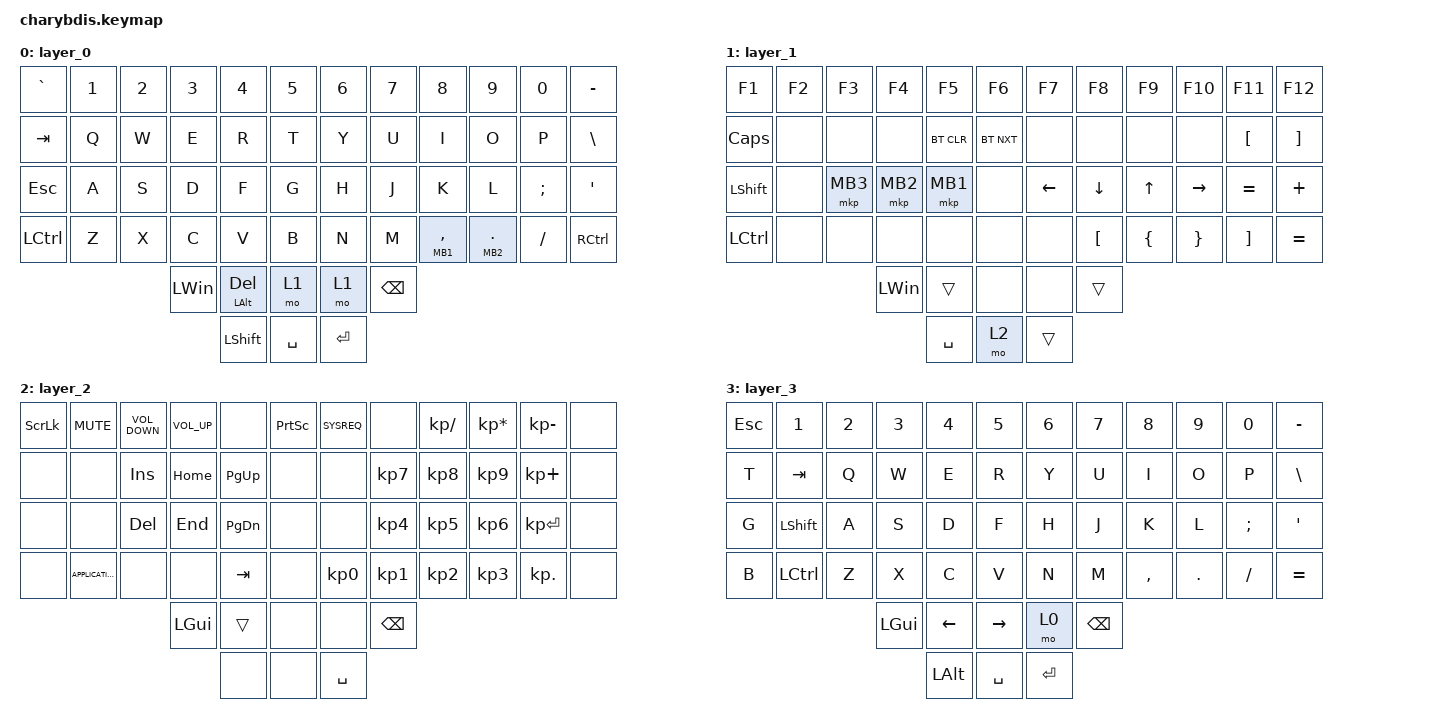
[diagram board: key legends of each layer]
#include <dt-bindings/zmk/mouse.h>
#include <behaviors.dtsi>
#include <dt-bindings/zmk/bt.h>
#include <dt-bindings/zmk/keys.h>
#include <dt-bindings/zmk/pointing.h>

&lt {
    tapping-term-ms = <200>;
    flavor = "balanced";
    quick-tap-ms = <150>;
};

/ {
    behaviors {
        quick_mouse: quick_mouse {
            compatible = "zmk,behavior-hold-tap";
            label = "QUICK_MOUSE";
            bindings = <&mkp>, <&kp>;

            #binding-cells = <2>;
            tapping-term-ms = <400>;
            quick-tap-ms = <150>;
        };
    };

    keymap {
        compatible = "zmk,keymap";

        layer_0 {
            bindings = <
&kp GRAVE  &kp N1  &kp N2  &kp N3        &kp N4               &kp N5       &kp N6     &kp N7         &kp N8                  &kp N9                   &kp N0    &kp MINUS
&kp TAB    &kp Q   &kp W   &kp E         &kp R                &kp T        &kp Y      &kp U          &kp I                   &kp O                    &kp P     &kp BSLH
&kp ESC    &kp A   &kp S   &kp D         &kp F                &kp G        &kp H      &kp J          &kp K                   &kp L                    &kp SEMI  &kp SQT
&kp LCTRL  &kp Z   &kp X   &kp C         &kp V                &kp B        &kp N      &kp M          &quick_mouse MB1 COMMA  &quick_mouse MB2 PERIOD  &kp FSLH  &kp RCTRL
                           &kp LEFT_WIN  &mt LEFT_ALT DELETE  &mo 1        &mo 1      &kp BACKSPACE
                                         &kp LEFT_SHIFT       &kp SPACE    &kp ENTER
            >;

            trackball-bindings = <&tmv_coarse>;
        };

        layer_1 {
            bindings = <
&kp F1          &kp F2  &kp F3    &kp F4        &kp F5      &kp F6        &kp F7          &kp F8            &kp F9          &kp F10          &kp F11            &kp F12
&kp CAPS        &none   &none     &none         &bt BT_CLR  &bt BT_NXT    &none           &none             &none           &none            &kp LEFT_BRACKET   &kp RIGHT_BRACKET
&kp LEFT_SHIFT  &none   &mkp MB3  &mkp MB2      &mkp MB1    &none         &kp LEFT_ARROW  &kp DOWN_ARROW    &kp UP_ARROW    &kp RIGHT        &kp EQUAL          &kp PLUS
&kp LCTRL       &none   &none     &none         &none       &none         &none           &kp LEFT_BRACKET  &kp LEFT_BRACE  &kp RIGHT_BRACE  &kp RIGHT_BRACKET  &kp EQUAL
                                  &kp LEFT_WIN  &trans      &none         &none           &trans
                                                &kp SPACE   &mo 2         &trans
            >;

            trackball-bindings = <&tsl>;
        };

        layer_2 {
            bindings = <
&kp SCROLLLOCK  &kp K_MUTE         &kp C_VOLUME_DOWN  &kp C_VOLUME_UP  &none          &kp PRINTSCREEN    &kp SYSREQ       &none            &kp KP_SLASH     &kp KP_ASTERISK  &kp KP_MINUS  &none
&none           &none              &kp INSERT         &kp HOME         &kp PAGE_UP    &none              &none            &kp KP_NUMBER_7  &kp KP_NUMBER_8  &kp KP_NUMBER_9  &kp KP_PLUS   &none
&none           &none              &kp DEL            &kp END          &kp PAGE_DOWN  &none              &none            &kp KP_NUMBER_4  &kp KP_NUMBER_5  &kp KP_NUMBER_6  &kp KP_ENTER  &none
&none           &kp K_APPLICATION  &none              &none            &kp TAB        &none              &kp KP_NUMBER_0  &kp KP_NUMBER_1  &kp KP_NUMBER_2  &kp KP_NUMBER_3  &kp KP_DOT    &none
                                                      &kp LEFT_GUI     &trans         &none              &none            &kp BACKSPACE
                                                                       &none          &none              &kp SPACE
            >;
        };

        layer_3 {
            bindings = <
&kp ESC  &kp N1            &kp N2  &kp N3    &kp N4    &kp N5       &kp N6     &kp N7    &kp N8     &kp N9      &kp N0         &kp MINUS
&kp T    &kp TAB           &kp Q   &kp W     &kp E     &kp R        &kp Y      &kp U     &kp I      &kp O       &kp P          &kp BACKSLASH
&kp G    &kp LEFT_SHIFT    &kp A   &kp S     &kp D     &kp F        &kp H      &kp J     &kp K      &kp L       &kp SEMICOLON  &kp SQT
&kp B    &kp LEFT_CONTROL  &kp Z   &kp X     &kp C     &kp V        &kp N      &kp M     &kp COMMA  &kp PERIOD  &kp SLASH      &kp EQUAL
                                   &kp LGUI  &kp LEFT  &kp RIGHT    &mo 0      &kp BSPC
                                             &kp LALT  &kp SPACE    &kp ENTER
            >;
        };

        /* layer_2 {
            bindings = <
&none  &none   &none    &none   &none         &none         &kp N1         &none         &none     &none  &none   &to 0
&none  &none   &none    &none   &none         &none         &none         &none          &rgb_ug RGB_BRD &rgb_ug RGB_BRI  &rgb_ug RGB_EFF   &rgb_ug RGB_TOG
&none  &none   &none    &none   &none         &none         &none         &mkp LCLK     &mkp RCLK  &none  &none   &none
&none  &none   &none    &none   &bt BT_NXT  &bt BT_CLR    &none         &none         &none     &none  &none   &none
                                   &none         &none         &none         &none         &none
                                                 &none         &none         &none
            >;
          trackball-bindings = <&tsl>;
            
        };

       Mouse {
            bindings = <
&none        &none         &none         &none         &none      &none         &none       &none      &none         &none         &none         &none
&none        &bt BT_SEL 0  &bt BT_SEL 1  &bt BT_SEL 3  &none      &bt BT_CLR    &bt BT_CLR  &none      &bt BT_SEL 2  &bt BT_SEL 1  &bt BT_SEL 0  &none
&none        &trans        &trans        &mkp MCLK     &trans     &none         &none       &trans     &mkp MCLK     &trans        &trans        &none
&bootloader  &trans        &mkp RCLK     &mo 4         &mkp LCLK  &mo 5         &mo 5       &mkp LCLK  &mo 4         &mkp RCLK     &trans        &bootloader
                                         &mo 5         &mkp LCLK  &mkp RCLK     &mkp RCLK   &mkp LCLK
                                                       &none      &trans        &trans
            >;

            
        };

        layer_4 {
            bindings = <
&trans  &trans  &trans     &trans     &trans     &trans       &trans     &trans     &trans     &trans     &trans  &trans
&trans  &trans  &trans     &trans     &trans     &trans       &trans     &trans     &trans     &trans     &trans  &trans
&trans  &trans  &trans     &mkp MCLK  &trans     &trans       &trans     &trans     &mkp MCLK  &trans     &trans  &trans
&trans  &trans  &mkp RCLK  &trans     &mkp LCLK  &trans       &trans     &mkp LCLK  &trans     &mkp RCLK  &trans  &trans
                           &trans     &mkp LCLK  &mkp RCLK    &mkp RCLK  &mkp LCLK
                                      &trans     &trans       &trans
            >;
                
                
                trackball-bindings = <&tsl>;
        };

        layer_5 {
            bindings = <
&trans  &trans  &trans     &trans     &trans     &trans       &trans     &trans     &trans     &trans     &trans  &trans
&trans  &trans  &trans     &trans     &trans     &trans       &trans     &trans     &trans     &trans     &trans  &trans
&trans  &trans  &trans     &mkp MCLK  &trans     &trans       &trans     &trans     &mkp MCLK  &trans     &trans  &trans
&trans  &trans  &mkp RCLK  &trans     &mkp LCLK  &trans       &trans     &mkp LCLK  &trans     &mkp RCLK  &trans  &trans
                           &trans     &mkp LCLK  &mkp RCLK    &mkp RCLK  &mkp LCLK
                                      &trans     &trans       &trans
            >;
                trackball-bindings = <&tmv_fine>;
                
        };*/
    };
};
